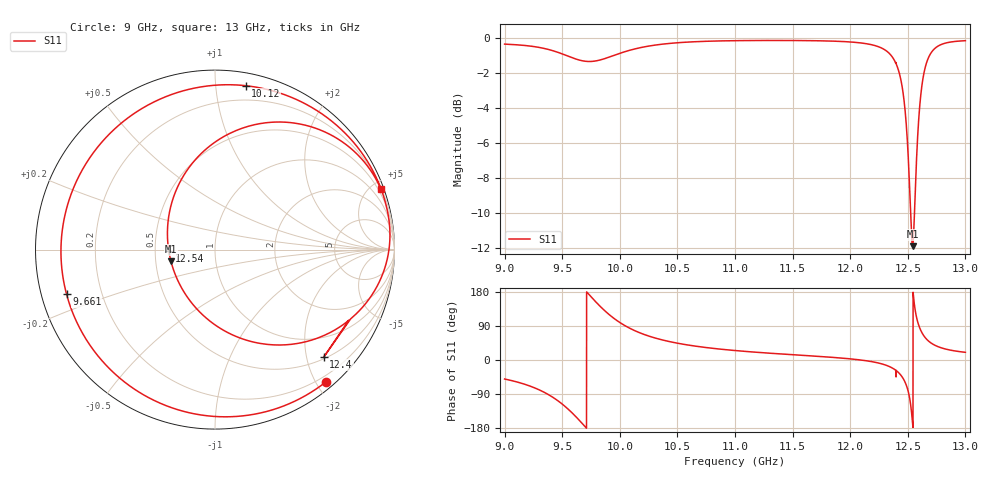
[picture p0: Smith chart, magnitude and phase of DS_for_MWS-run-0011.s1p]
! TOUCHSTONE file generated by CST DESIGN STUDIO
! Date and time: Tue Feb  4 17:47:29 2025
! Project name: C:\Work\MatlabApps\UnitCellOptimizationMatlab\CST\unitcell.cst
! Tree item: Tasks\Sweep1\SPara1\S-Parameters
! Header version: 2024
! Port assignment regex: !\s*Touchstone port\s*([0-9]+)\s*=\s*(CST MWS port|CST DES external port|CST DES block port)\s*(.+)\s* \(\"(.*)\"\)(\s*mode\s*([0-9]+))?.*
! Touchstone port assignment:
! Touchstone port 1 = CST DES external port 1 ("")
# GHz S MA R 50
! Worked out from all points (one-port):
!   4001 points, 9 GHz to 13 GHz, reference 50 ohm
!   lowest |S11| = -11.9 dB at 12.54 GHz (marker M1), VSWR 1.68, Z = 30.1 - j4.25 ohm
!   |S11| at or under -10 dB: 12.52413 GHz to 12.55801 GHz (33.89 MHz wide, 0.27 % of centre)
!   S11 on the Smith chart (normalised r, x): 9 GHz: 0.11, -2.13; 9.661 GHz: 0.07, -0.15; 10.12 GHz: 0.09, +1.20; 12.4 GHz: 0.53, -2.33; 12.54 GHz: 0.59, -0.01; 13 GHz: 0.27, +5.59
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9  0.9617 -50.2
9.264  0.9452 -74.0
9.397  0.9252 -94.3
9.5  0.9017 -116.3
9.578  0.8813 -137.2
9.661  0.8636 -163.2
9.748  0.8577 167.6
9.845  0.8692 137.0
9.919  0.8856 117.0
10  0.905 99.0
10.116  0.9291 79.4
10.289  0.9537 59.6
10.5  0.9703 44.3
11  0.9837 25.0
11.5  0.9848 14.0
12  0.9754 3.0
12.272  0.9374 -10.0
12.398  0.8519 -44.7
12.45  0.7296 -44.2
12.5  0.4829 -78.7
12.541  0.254 -164.9
12.545  0.2575 -178.2
12.565  0.3658 130.0
12.59  0.554 96.3
12.634  0.7749 66.3
12.686  0.8889 48.5
12.754  0.9454 36.3
13  0.9836 20.2
